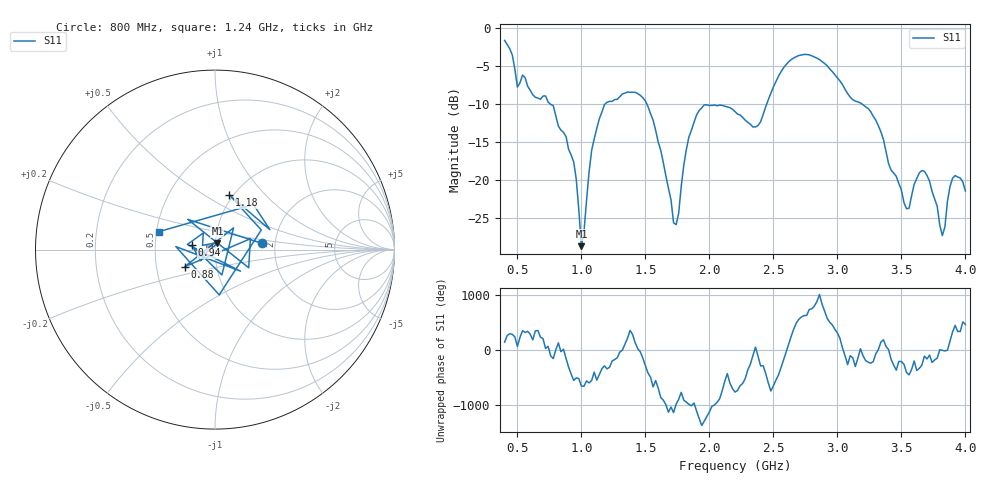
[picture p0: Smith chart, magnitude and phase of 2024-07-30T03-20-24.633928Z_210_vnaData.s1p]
!Created with skrf (http://scikit-rf.org).
# Hz S RI R 50.0
!freq ReS11 ImS11
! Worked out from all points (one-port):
!   181 points, 400 MHz to 4 GHz, reference 50 ohm
!   lowest |S11| = -28.7 dB at 1 GHz (marker M1), VSWR 1.08, Z = 51.2 + j3.51 ohm
!   |S11| at or under -10 dB: 757.6 MHz to 1.183 GHz (425.8 MHz wide, 43.9 % of centre); 1.512 GHz to 2.447 GHz (935.7 MHz wide, 47.3 % of centre); 3.194 GHz to end of sweep
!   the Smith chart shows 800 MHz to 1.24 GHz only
!   S11 on the Smith chart (normalised r, x): 800 MHz: 1.71, +0.13; 880 MHz: 0.70, -0.14; 940 MHz: 0.77, +0.04; 1.18 GHz: 0.96, +0.65; 1.24 GHz: 0.51, +0.11
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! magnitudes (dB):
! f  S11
! 400 MHz  -1.6
! 500 MHz  -7.8
! 800 MHz  -11.5
! 860 MHz  -13.7
! 880 MHz  -14.3
! 940 MHz  -17.6
! 1 GHz  -28.7
! 1.08 GHz  -16.1
! 1.18 GHz  -10.0
! 1.24 GHz  -9.6
! 1.3 GHz  -9.0
! 1.5 GHz  -9.6
! 1.62 GHz  -16.1
! 1.72 GHz  -25.6
! 1.76 GHz  -24.3
! 1.82 GHz  -16.0
! 1.9 GHz  -11.4
! 2.2 GHz  -11.0
! 2.38 GHz  -12.8
! 2.66 GHz  -3.9
! 2.86 GHz  -4.1
! 3.1 GHz  -9.1
! 3.3 GHz  -12.1
! 3.56 GHz  -23.7
! 3.68 GHz  -18.8
! 3.82 GHz  -27.3
! 3.9 GHz  -19.7
! 4 GHz  -21.4
